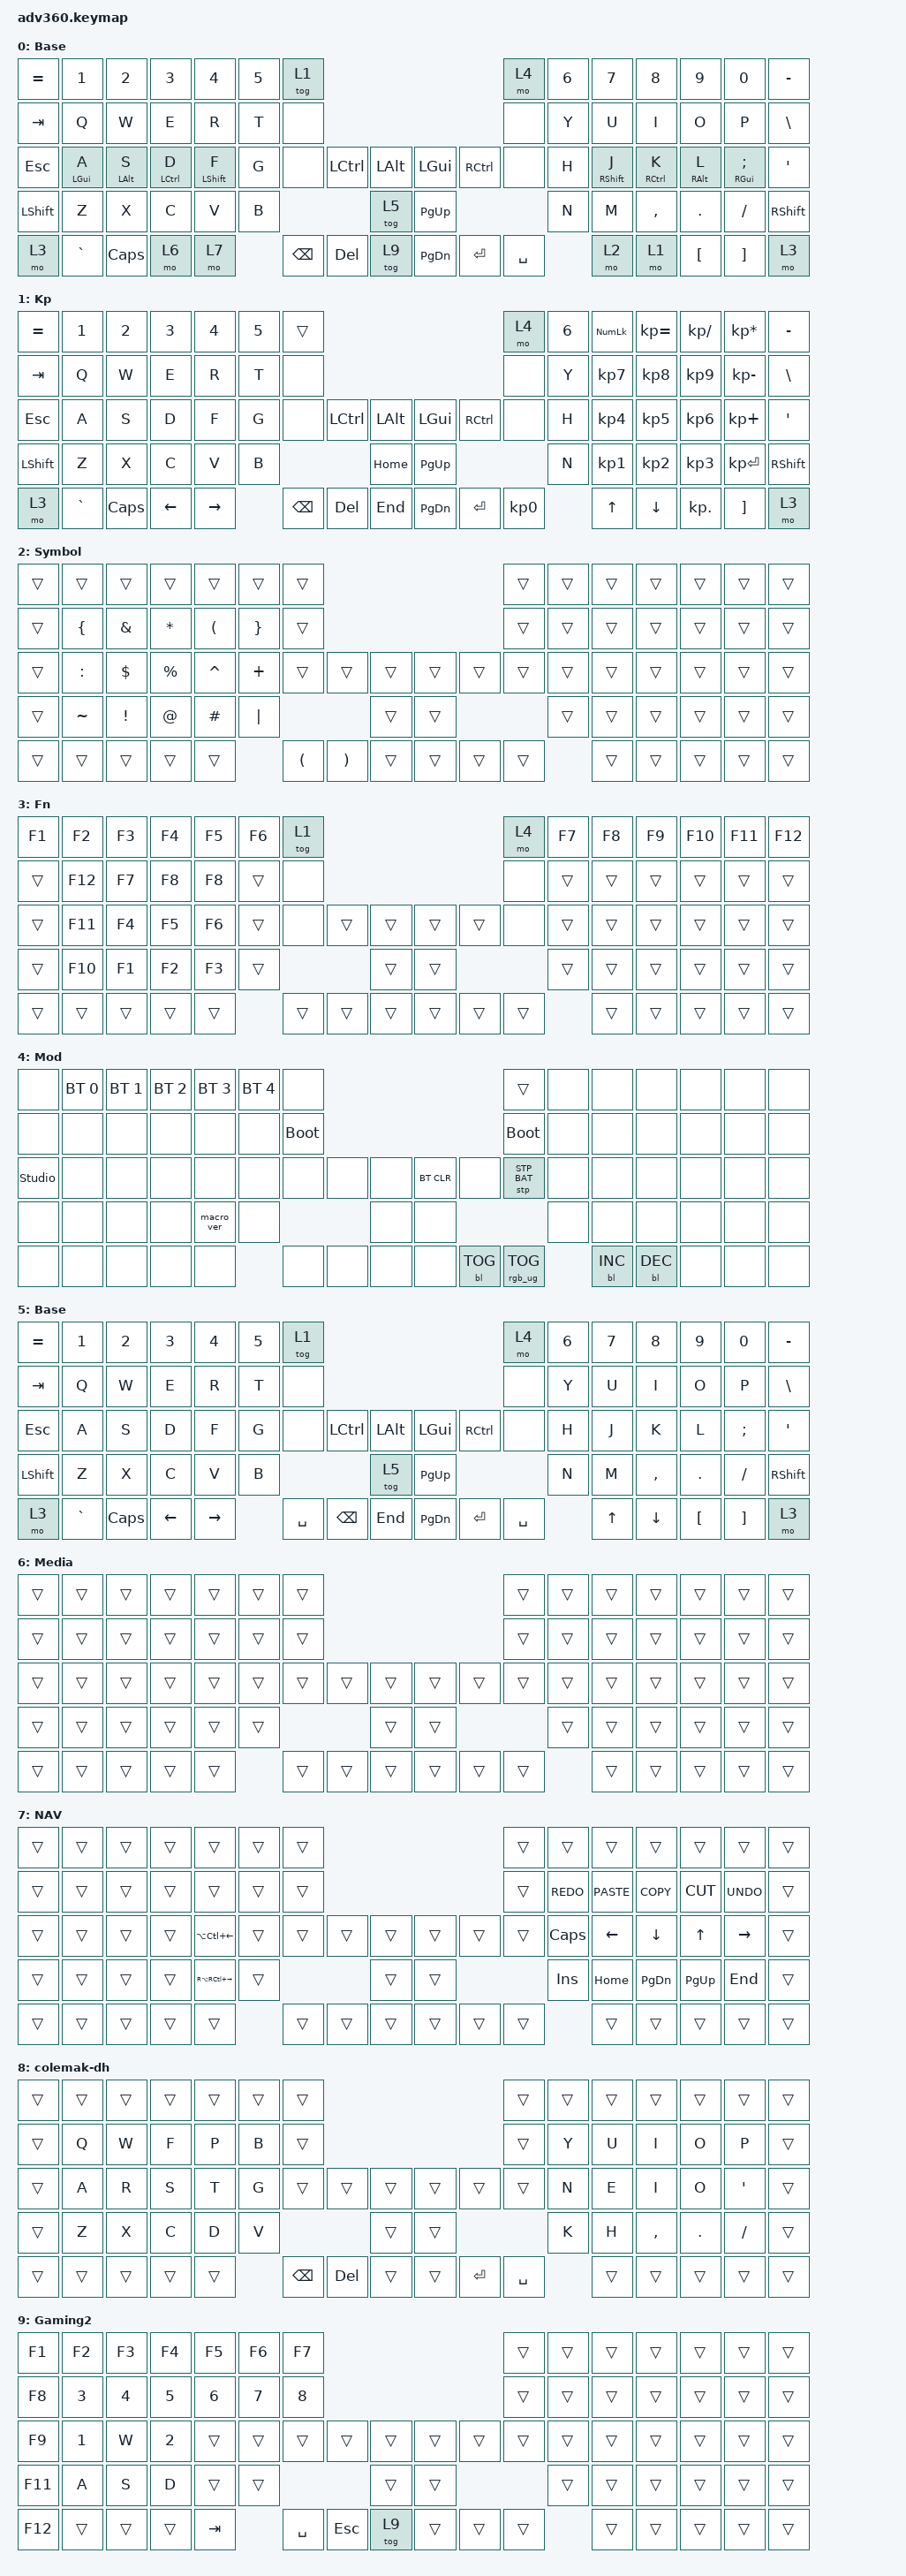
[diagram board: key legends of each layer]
#include <dt-bindings/zmk/stp.h>
#include <behaviors.dtsi>
#include <dt-bindings/zmk/backlight.h>
#include <dt-bindings/zmk/bt.h>
#include <dt-bindings/zmk/keys.h>
#include <dt-bindings/zmk/rgb.h>

/ {
    behaviors {
        #include "macros.dtsi"
      #include "version.dtsi"

        hm: homerow_mods {
            compatible = "zmk,behavior-hold-tap";
            label = "HOMEROW_MODS";
            #binding-cells = <2>;
            tapping-term-ms = <200>;
            quick_tap_ms = <175>;
            flavor = "tap-preferred";
            bindings = <&kp>, <&kp>;
        };
    };

    macros {
        R_WS: R_WS {
            compatible = "zmk,behavior-macro";
            #binding-cells = <0>;
            bindings = <&kp RIGHT_ALT &kp RIGHT_CONTROL &kp RIGHT_ARROW>;
            label = "R_WS";
        };
    };

    keymap {
        compatible = "zmk,keymap";

        default_layer {
            display-name = "Base";
            bindings = <
&kp EQUAL  &kp N1          &kp N2          &kp N3              &kp N4            &kp N5  &tog 1                                                   &mo 4      &kp N6  &kp N7             &kp N8               &kp N9           &kp N0              &kp MINUS
&kp TAB    &kp Q           &kp W           &kp E               &kp R             &kp T   &none                                                    &none      &kp Y   &kp U              &kp I                &kp O            &kp P               &kp BSLH
&kp ESC    &hm LEFT_GUI A  &hm LEFT_ALT S  &hm LEFT_CONTROL D  &hm LEFT_SHIFT F  &kp G   &none     &kp LCTRL  &kp LALT      &kp LGUI   &kp RCTRL  &none      &kp H   &hm RIGHT_SHIFT J  &hm RIGHT_CONTROL K  &hm RIGHT_ALT L  &hm RIGHT_GUI SEMI  &kp SQT
&kp LSHFT  &kp Z           &kp X           &kp C               &kp V             &kp B                        &tog 5        &kp PG_UP                        &kp N   &kp M              &kp COMMA            &kp DOT          &kp FSLH            &kp RSHFT
&mo 3      &kp GRAVE       &kp CAPS        &mo 6               &mo 7                     &kp BSPC  &kp DEL    &tog 9        &kp PG_DN  &kp ENTER  &kp SPACE          &mo 2              &mo 1                &kp LBKT         &kp RBKT            &mo 3
            >;
        };

        num {
            display-name = "Kp";
            bindings = <
&kp EQUAL  &kp N1     &kp N2    &kp N3    &kp N4     &kp N5  &trans                                                   &mo 4      &kp N6  &kp KP_NUM  &kp KP_EQUAL  &kp KP_DIVIDE  &kp KP_MULTIPLY  &kp MINUS
&kp TAB    &kp Q      &kp W     &kp E     &kp R      &kp T   &none                                                    &none      &kp Y   &kp KP_N7   &kp KP_N8     &kp KP_N9      &kp KP_MINUS     &kp BSLH
&kp ESC    &kp A      &kp S     &kp D     &kp F      &kp G   &none     &kp LCTRL  &kp LALT      &kp LGUI   &kp RCTRL  &none      &kp H   &kp KP_N4   &kp KP_N5     &kp KP_N6      &kp KP_PLUS      &kp SQT
&kp LSHFT  &kp Z      &kp X     &kp C     &kp V      &kp B                        &kp HOME      &kp PG_UP                        &kp N   &kp KP_N1   &kp KP_N2     &kp KP_N3      &kp KP_ENTER     &kp RSHFT
&mo 3      &kp GRAVE  &kp CAPS  &kp LEFT  &kp RIGHT          &kp BSPC  &kp DEL    &kp END       &kp PG_DN  &kp ENTER  &kp KP_N0          &kp UP      &kp DOWN      &kp KP_DOT     &kp RBKT         &mo 3
            >;
        };

        Symbol {
            bindings = <
&trans  &trans          &trans           &trans        &trans                &trans           &trans                                                                   &trans  &trans  &trans  &trans  &trans  &trans  &trans
&trans  &kp LEFT_BRACE  &kp AMPERSAND    &kp ASTERISK  &kp LEFT_PARENTHESIS  &kp RIGHT_BRACE  &trans                                                                   &trans  &trans  &trans  &trans  &trans  &trans  &trans
&trans  &kp COLON       &kp DOLLAR       &kp PERCENT   &kp CARET             &kp PLUS         &trans                &trans                 &trans      &trans  &trans  &trans  &trans  &trans  &trans  &trans  &trans  &trans
&trans  &kp TILDE       &kp EXCLAMATION  &kp AT        &kp HASH              &kp PIPE                                                      &trans      &trans                  &trans  &trans  &trans  &trans  &trans  &trans
&trans  &trans          &trans           &trans        &trans                                 &kp LEFT_PARENTHESIS  &kp RIGHT_PARENTHESIS  &trans      &trans  &trans  &trans          &trans  &trans  &trans  &trans  &trans
            >;

            label = "Symbol";
        };

        Fun {
            display-name = "Fn";
            bindings = <
&kp F1  &kp F2   &kp F3  &kp F4  &kp F5  &kp F6  &tog 1                                      &mo 4   &kp F7  &kp F8  &kp F9  &kp F10  &kp F11  &kp F12
&trans  &kp F12  &kp F7  &kp F8  &kp F8  &trans  &none                                       &none   &trans  &trans  &trans  &trans   &trans   &trans
&trans  &kp F11  &kp F4  &kp F5  &kp F6  &trans  &none   &trans  &trans      &trans  &trans  &none   &trans  &trans  &trans  &trans   &trans   &trans
&trans  &kp F10  &kp F1  &kp F2  &kp F3  &trans                  &trans      &trans                  &trans  &trans  &trans  &trans   &trans   &trans
&trans  &trans   &trans  &trans  &trans          &trans  &trans  &trans      &trans  &trans  &trans          &trans  &trans  &trans   &trans   &trans
            >;

            label = "Fun";
        };

        mod {
            display-name = "Mod";
            bindings = <
&none           &bt BT_SEL 0  &bt BT_SEL 1  &bt BT_SEL 2  &bt BT_SEL 3  &bt BT_SEL 4  &none                                                  &trans           &none  &none       &none       &none  &none  &none
&none           &none         &none         &none         &none         &none         &bootloader                                            &bootloader      &none  &none       &none       &none  &none  &none
&studio_unlock  &none         &none         &none         &none         &none         &none        &none  &none      &bt BT_CLR  &none       &stp STP_BAT     &none  &none       &none       &none  &none  &none
&none           &none         &none         &none         &macro_ver    &none                             &none      &none                                    &none  &none       &none       &none  &none  &none
&none           &none         &none         &none         &none                       &none        &none  &none      &none       &bl BL_TOG  &rgb_ug RGB_TOG         &bl BL_INC  &bl BL_DEC  &none  &none  &none
            >;
        };

        Gaming {
            display-name = "Base";
            bindings = <
&kp EQUAL  &kp N1     &kp N2    &kp N3    &kp N4     &kp N5  &tog 1                                                        &mo 4      &kp N6  &kp N7  &kp N8     &kp N9    &kp N0         &kp MINUS
&kp TAB    &kp Q      &kp W     &kp E     &kp R      &kp T   &none                                                         &none      &kp Y   &kp U   &kp I      &kp O     &kp P          &kp BSLH
&kp ESC    &kp A      &kp S     &kp D     &kp F      &kp G   &none      &kp LCTRL      &kp LALT      &kp LGUI   &kp RCTRL  &none      &kp H   &kp J   &kp K      &kp L     &kp SEMICOLON  &kp SQT
&kp LSHFT  &kp Z      &kp X     &kp C     &kp V      &kp B                             &tog 5        &kp PG_UP                        &kp N   &kp M   &kp COMMA  &kp DOT   &kp FSLH       &kp RSHFT
&mo 3      &kp GRAVE  &kp CAPS  &kp LEFT  &kp RIGHT          &kp SPACE  &kp BACKSPACE  &kp END       &kp PG_DN  &kp ENTER  &kp SPACE          &kp UP  &kp DOWN   &kp LBKT  &kp RBKT       &mo 3
            >;

            label = "Gaming";
        };

        Media {
            bindings = <
&trans  &trans  &trans  &trans  &trans  &trans  &trans                                      &trans  &trans  &trans  &trans  &trans  &trans  &trans
&trans  &trans  &trans  &trans  &trans  &trans  &trans                                      &trans  &trans  &trans  &trans  &trans  &trans  &trans
&trans  &trans  &trans  &trans  &trans  &trans  &trans  &trans  &trans      &trans  &trans  &trans  &trans  &trans  &trans  &trans  &trans  &trans
&trans  &trans  &trans  &trans  &trans  &trans                  &trans      &trans                  &trans  &trans  &trans  &trans  &trans  &trans
&trans  &trans  &trans  &trans  &trans          &trans  &trans  &trans      &trans  &trans  &trans          &trans  &trans  &trans  &trans  &trans
            >;
        };

        NAV {
            bindings = <
&trans  &trans  &trans  &trans  &trans                  &trans  &trans                                      &trans  &trans        &trans          &trans          &trans        &trans           &trans
&trans  &trans  &trans  &trans  &trans                  &trans  &trans                                      &trans  &kp K_REDO    &kp K_PASTE     &kp K_COPY      &kp K_CUT     &kp K_UNDO       &trans
&trans  &trans  &trans  &trans  &kp LA(LC(LEFT_ARROW))  &trans  &trans  &trans  &trans      &trans  &trans  &trans  &kp CAPSLOCK  &kp LEFT_ARROW  &kp DOWN_ARROW  &kp UP_ARROW  &kp RIGHT_ARROW  &trans
&trans  &trans  &trans  &trans  &kp RA(RC(RIGHT))       &trans                  &trans      &trans                  &kp INSERT    &kp HOME        &kp PAGE_DOWN   &kp PAGE_UP   &kp END          &trans
&trans  &trans  &trans  &trans  &trans                          &trans  &trans  &trans      &trans  &trans  &trans                &trans          &trans          &trans        &trans           &trans
            >;

            label = "NAV";
        };

        colemak-dh {
            bindings = <
&trans  &trans  &trans  &trans  &trans  &trans  &trans                                               &trans     &trans  &trans  &trans     &trans   &trans    &trans
&trans  &kp Q   &kp W   &kp F   &kp P   &kp B   &trans                                               &trans     &kp Y   &kp U   &kp I      &kp O    &kp P     &trans
&trans  &kp A   &kp R   &kp S   &kp T   &kp G   &trans    &trans      &trans      &trans  &trans     &trans     &kp N   &kp E   &kp I      &kp O    &kp APOS  &trans
&trans  &kp Z   &kp X   &kp C   &kp D   &kp V                         &trans      &trans                        &kp K   &kp H   &kp COMMA  &kp DOT  &kp FSLH  &trans
&trans  &trans  &trans  &trans  &trans          &kp BSPC  &kp DELETE  &trans      &trans  &kp ENTER  &kp SPACE          &trans  &trans     &trans   &trans    &trans
            >;
        };

        Gaming2 {
            bindings = <
&kp F1   &kp F2  &kp F3  &kp F4  &kp F5   &kp F6  &kp F7                                             &trans  &trans  &trans  &trans  &trans  &trans  &trans
&kp F8   &kp N3  &kp N4  &kp N5  &kp N6   &kp N7  &kp N8                                             &trans  &trans  &trans  &trans  &trans  &trans  &trans
&kp F9   &kp N1  &kp W   &kp N2  &trans   &trans  &trans     &trans      &trans      &trans  &trans  &trans  &trans  &trans  &trans  &trans  &trans  &trans
&kp F11  &kp A   &kp S   &kp D   &trans   &trans                         &trans      &trans                  &trans  &trans  &trans  &trans  &trans  &trans
&kp F12  &trans  &trans  &trans  &kp TAB          &kp SPACE  &kp ESCAPE  &tog 9      &trans  &trans  &trans          &trans  &trans  &trans  &trans  &trans
            >;

            label = "Gaming2";
        };
    };
};
